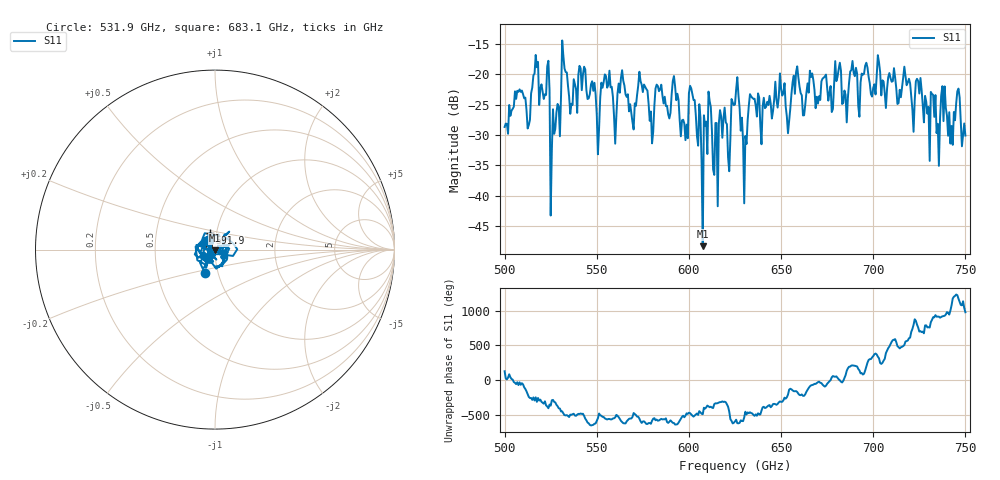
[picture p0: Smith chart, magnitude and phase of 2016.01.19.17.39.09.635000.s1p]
!Created with skrf (http://scikit-rf.org).
# GHz S RI R 50.0
!freq ReS11 ImS11
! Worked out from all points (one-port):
!   401 points, 500 GHz to 750 GHz, reference 50 ohm
!   lowest |S11| = -48.3 dB at 607.5 GHz (marker M1), VSWR 1.01, Z = 49.8 - j0.309 ohm
!   |S11| at or under -10 dB: start of sweep to end of sweep
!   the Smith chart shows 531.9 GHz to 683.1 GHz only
!   S11 on the Smith chart (normalised r, x): 531.9 GHz: 0.86, -0.23; 591.9 GHz: 0.93, +0.17; 683.1 GHz: 1.10, -0.06
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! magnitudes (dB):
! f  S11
! 500 GHz  -28.7
! 508.1 GHz  -22.5
! 513.1 GHz  -28.4
! 516.9 GHz  -16.9
! 523.1 GHz  -18.7
! 526.2 GHz  -25.8
! 531.2 GHz  -14.5
! 531.9 GHz  -17.0
! 550.6 GHz  -33.2
! 562.5 GHz  -23.1
! 580 GHz  -31.4
! 591.9 GHz  -20.3
! 593.8 GHz  -23.2
! 598.1 GHz  -30.8
! 601.9 GHz  -23.3
! 607.5 GHz  -48.3
! 610.6 GHz  -22.9
! 614.4 GHz  -28.0
! 618.1 GHz  -30.5
! 621.2 GHz  -33.7
! 625 GHz  -25.0
! 630.6 GHz  -30.2
! 633.8 GHz  -23.7
! 656.2 GHz  -21.3
! 683.1 GHz  -24.9
! 687.5 GHz  -19.6
! 718.8 GHz  -21.4
! 750 GHz  -30.1
